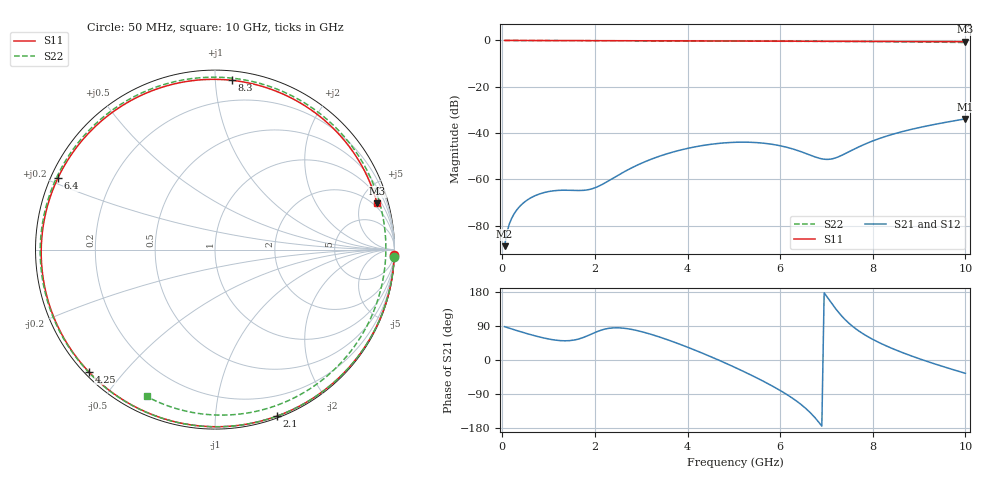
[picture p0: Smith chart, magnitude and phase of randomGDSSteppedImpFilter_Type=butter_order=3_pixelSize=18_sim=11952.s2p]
! freq	dB(S11)	phase(S11)	dB(S12)	phase(S12)
!  dB(S21)	phase(S21)	dB(S22)	phase(S22)
!S-par simulation data
#  GHz  S  DB  R 50
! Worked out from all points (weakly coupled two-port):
!   200 points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, 50 MHz to 10 GHz, reference 50 ohm
!   highest |S21| = -33.88 dB at 10 GHz (marker M1); lowest = -88.9 dB at 50 MHz (marker M2)
!   lowest |S11| = -0.5 dB at 10 GHz (marker M3), VSWR 32.02, Z = 77.7 + j340 ohm
!   |S11| at or under -10 dB: nowhere
!   |S22| runs from -0.9 to 0.0 dB; largest |S21 - S12| = 0
!   S11 on the Smith chart (normalised r, x): 50 MHz: 1, -66; 2.1 GHz: 0.02, -1.44; 4.25 GHz: 0.01, -0.40; 6.4 GHz: 0.02, +0.22; 8.3 GHz: 0.06, +1.10; 10 GHz: 1.55, +6.81
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0.05  -0.00 -1.7  -88.90 88.0  -88.90 88.0  -0.01 -2.4
0.15  -0.01 -5.1  -79.42 84.0  -79.42 84.0  -0.01 -7.0
0.4  -0.02 -13.6  -71.24 74.5  -71.24 74.5  -0.02 -18.5
0.7  -0.03 -23.8  -67.16 64.0  -67.16 64.0  -0.04 -32.3
1.25  -0.05 -42.1  -64.75 51.2  -64.75 51.2  -0.07 -57.3
1.75  -0.07 -58.5  -64.78 59.4  -64.78 59.4  -0.10 -79.8
2.1  -0.09 -69.7  -62.81 77.3  -62.81 77.3  -0.12 -95.5
2.7  -0.11 -88.6  -56.02 82.7  -56.02 82.7  -0.15 -122.5
3.4  -0.14 -110.2  -49.99 60.5  -49.99 60.5  -0.19 -154.8
3.85  -0.16 -123.8  -47.35 40.9  -47.35 40.9  -0.23 -176.5
4.25  -0.19 -136.0  -45.66 21.6  -45.66 21.6  -0.25 163.4
4.65  -0.21 -148.2  -44.54 1.0  -44.54 1.0  -0.28 142.4
5.05  -0.24 -160.5  -43.99 -21.0  -43.99 -21.0  -0.31 120.5
5.7  -0.28 178.9  -44.53 -60.1  -44.53 -60.1  -0.35 83.6
6.4  -0.34 155.6  -47.71 -112.5  -47.71 -112.5  -0.39 43.7
6.7  -0.36 145.2  -49.94 -145.2  -49.94 -145.2  -0.40 27.1
7.05  -0.39 132.6  -51.37 160.1  -51.37 160.1  -0.42 8.5
7.4  -0.41 119.6  -48.97 106.9  -48.97 106.9  -0.44 -9.0
8.3  -0.47 84.3  -41.32 36.7  -41.32 36.7  -0.53 -49.7
8.35  -0.47 82.3  -41.01 34.0  -41.01 34.0  -0.53 -51.8
9.15  -0.50 49.7  -37.02 -2.8  -37.02 -2.8  -0.67 -83.4
10  -0.54 15.9  -33.88 -35.2  -33.88 -35.2  -0.89 -115.0
